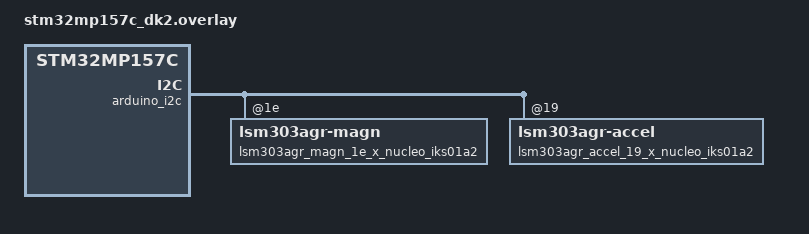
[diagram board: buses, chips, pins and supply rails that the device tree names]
/*
 * Copyright (c) 2019 Linaro Limited
 *
 * SPDX-License-Identifier: Apache-2.0
 */

/*
 * On stm32mp157c_dk2 pin A3 is not mapped on a GPIO pin.
 * Delete this optional property for shield/board compatibility
 */

&arduino_i2c {
	lsm303agr_magn_1e_x_nucleo_iks01a2: lsm303agr-magn@1e {
		/delete-property/ irq-gpios;	/* A3 */
	};

	lsm303agr_accel_19_x_nucleo_iks01a2: lsm303agr-accel@19 {
		/delete-property/ irq-gpios;	/* A3 */
	};
};
